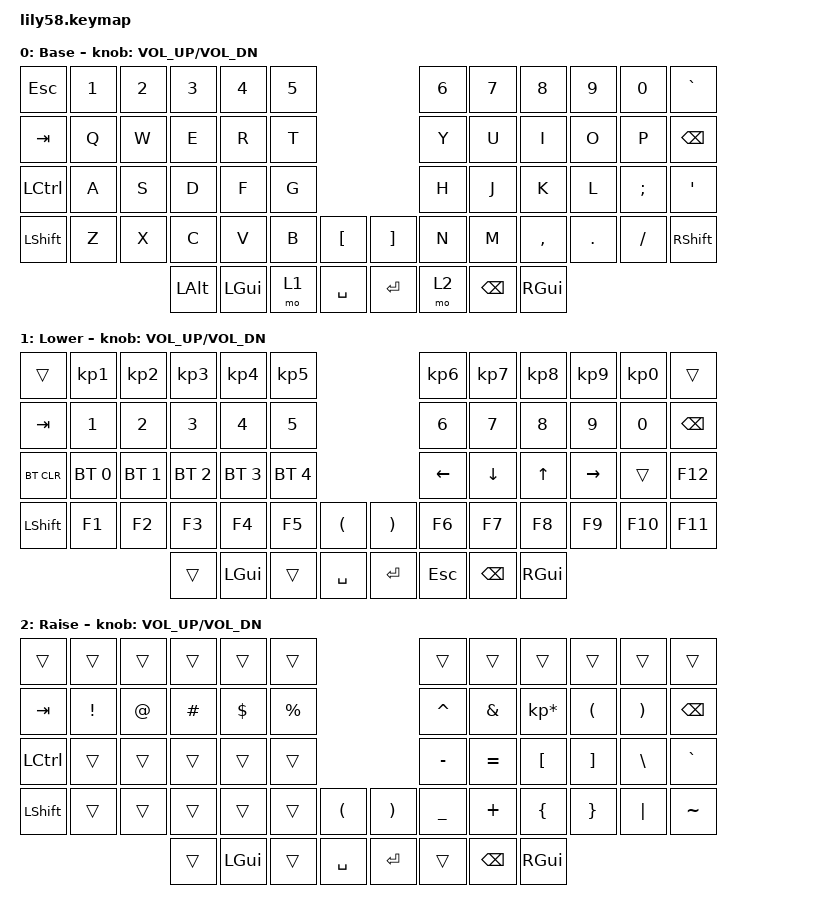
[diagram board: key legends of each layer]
/*
 * Copyright (c) 2020 The ZMK Contributors
 *
 * SPDX-License-Identifier: MIT
 */

#include <behaviors.dtsi>
#include <dt-bindings/zmk/keys.h>
#include <dt-bindings/zmk/bt.h>
#include <dt-bindings/zmk/ext_power.h>

/ {
    keymap {
        compatible = "zmk,keymap";

        default_layer {
// ------------------------------------------------------------------------------------------------------------
// |  ESC  |  1  |  2  |  3   |  4   |  5   |                   |  6   |  7    |  8    |  9   |   0   |   `   |
// |  TAB  |  Q  |  W  |  E   |  R   |  T   |                   |  Y   |  U    |  I    |  O   |   P   |  BKSP |
// |  CTRL |  A  |  S  |  D   |  F   |  G   |                   |  H   |  J    |  K    |  L   |   ;   |   '   |
// | SHIFT |  Z  |  X  |  C   |  V   |  B   |   "["  |  |  "]"  |  N   |  M    |  ,    |  .   |   /   | SHIFT |
//                     | ALT  | GUI  | LOWER|  SPACE |  | ENTER | RAISE| BKSP   | GUI   |
            display-name = "Base";
            bindings = <
&kp ESC   &kp N1 &kp N2 &kp N3   &kp N4   &kp N5                     &kp N6 &kp N7   &kp N8    &kp N9  &kp N0   &kp GRAVE
&kp TAB   &kp Q  &kp W  &kp E    &kp R    &kp T                      &kp Y  &kp U    &kp I     &kp O   &kp P    &kp BSPC
&kp LCTRL &kp A  &kp S  &kp D    &kp F    &kp G                      &kp H  &kp J    &kp K     &kp L   &kp SEMI &kp SQT
&kp LSHFT &kp Z  &kp X  &kp C    &kp V    &kp B  &kp LBKT   &kp RBKT &kp N  &kp M    &kp COMMA &kp DOT &kp FSLH &kp RSHFT
                        &kp LALT &kp LGUI &mo 1  &kp SPACE  &kp RET  &mo 2  &kp BSPC &kp RGUI
            >;

            sensor-bindings = <&inc_dec_kp C_VOL_UP C_VOL_DN>;
        };

        lower_layer {
// ------------------------------------------------------------------------------------------------------------
// |       | N1  |  N2 |  N3  |  N4  |  N5  |                   |  N6  |  N7   |  N8   |  N9  |  N0   |       |
// |  TAB  |  1  |  2  |  3   |  4   |  5   |                   |  6   |  7    |  8    |  9   |  0    | BKSP  |
// | BTCLR | BT1 | BT2 | BT3  | BT4  | BT5  |                   | LFT  | DWN   |  UP   | RGT  |       | F12   |
// | SHFT  | F1  | F2  | F3   | F4   | F5   |    (   |  |   )   | F6   | F7    |  F8   | F9   | F10   | F11   |
//                     |      |  GUI |      |  SPACE |  |  ENT  |  ESC | BKSP   |  GUI  |
            display-name = "Lower";
            bindings = <
&trans     &kp KP_N1        &kp KP_N2         &kp KP_N3         &kp KP_N4    &kp KP_N5                        &kp KP_N6 &kp KP_N7 &kp KP_N8       &kp KP_N9 &kp KP_N0    &trans
&kp TAB    &kp N1           &kp N2            &kp N3            &kp N4       &kp N5                           &kp N6    &kp N7    &kp N8          &kp N9    &kp N0    &kp BSPC
&bt BT_CLR &bt BT_SEL 0     &bt BT_SEL 1      &bt BT_SEL 2      &bt BT_SEL 3 &bt BT_SEL 4                     &kp LEFT  &kp DOWN  &kp UP          &kp RIGHT &trans    &kp F12
&kp LSHFT  &kp F1           &kp F2            &kp F3            &kp F4       &kp F5    &kp LPAR   &kp RPAR    &kp F6    &kp F7    &kp F8          &kp F9    &kp F10   &kp F11
                                              &trans            &kp LGUI     &trans    &kp SPACE  &kp RET     &kp ESC   &kp BSPC  &kp RGUI
            >;

            sensor-bindings = <&inc_dec_kp C_VOL_UP C_VOL_DN>;
        };

        raise_layer {
// ------------------------------------------------------------------------------------------------------------
// |       |     |     |      |      |      |                   |      |       |       |      |       |       |
// |  TAB  |  !  |  @  |  #   |  $   |  %   |                   |  ^   |  &    |  *    |  (   |  )    | BKSP  |
// | CTRL  |     |     |      |      |      |                   |  -   |  =    |  [    |  ]   |  \    |  `    |
// | SHFT  |     |     |      |      |      |    (   |  |   )   |  _   |  +    |  {    |  }   | "|"   |  ~    |
//                     |      |  GUI |      |   SPC  |  |  ENT  |      |  BKSP  |  GUI  |
            display-name = "Raise";
            bindings = <
&trans    &trans   &trans &trans   &trans   &trans                       &trans      &trans    &trans          &trans   &trans    &trans
&kp  TAB  &kp EXCL &kp AT &kp HASH &kp DLLR &kp PRCNT                    &kp CARET   &kp AMPS  &kp KP_MULTIPLY &kp LPAR &kp RPAR  &kp BSPC
&kp LCTRL &trans   &trans &trans   &trans   &trans                       &kp MINUS   &kp EQUAL &kp LBKT        &kp RBKT &kp BSLH  &kp GRAVE
&kp LSHFT &trans   &trans &trans   &trans   &trans   &kp LPAR   &kp RPAR &kp UNDER   &kp PLUS  &kp LBRC        &kp RBRC &kp PIPE  &kp TILDE
                          &trans   &kp LGUI &trans   &kp SPACE  &kp RET  &trans      &kp BSPC  &kp RGUI
            >;

            sensor-bindings = <&inc_dec_kp C_VOL_UP C_VOL_DN>;
        };
    };
};
